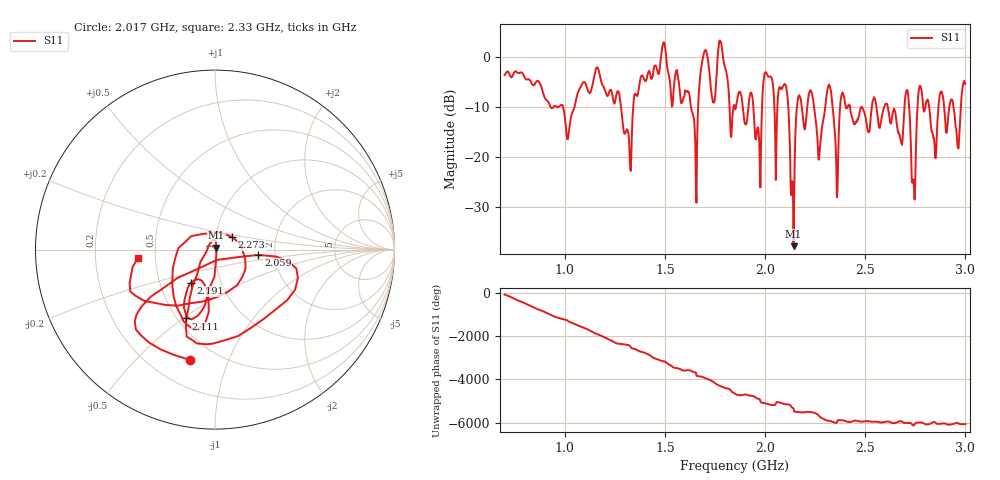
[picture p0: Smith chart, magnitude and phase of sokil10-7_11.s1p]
# HZ S RI R 50
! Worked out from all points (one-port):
!   808 points, 700 MHz to 3 GHz, reference 50 ohm
!   lowest |S11| = -37.9 dB at 2.142 GHz (marker M1), VSWR 1.03, Z = 50.8 + j1.01 ohm
!   |S11| at or under -10 dB: 1.281 GHz to 1.342 GHz (61.3 MHz wide, 4.67 % of centre); 2.425 GHz to 2.533 GHz (108.7 MHz wide, 4.38 % of centre); 2.612 GHz to 2.696 GHz (83.22 MHz wide, 3.14 % of centre)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
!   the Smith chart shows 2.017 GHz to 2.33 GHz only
!   S11 on the Smith chart (normalised r, x): 2.017 GHz: 0.36, -0.73; 2.059 GHz: 1.63, -0.10; 2.111 GHz: 0.55, -0.51; 2.191 GHz: 0.72, -0.28; 2.273 GHz: 1.20, +0.17; 2.33 GHz: 0.40, -0.05
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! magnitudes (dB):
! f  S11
! 700 MHz  -3.7
! 987.9 MHz  -9.7
! 1.276 GHz  -8.5
! 1.324 GHz  -19.7
! 1.384 GHz  -3.8
! 1.564 GHz  -3.7
! 1.652 GHz  -17.3
! 1.7 GHz  1.3
! 1.851 GHz  -10.5
! 1.968 GHz  -15.2
! 2.017 GHz  -4.0
! 2.059 GHz  -12.3
! 2.111 GHz  -7.6
! 2.139 GHz  -26.6
! 2.142 GHz  -37.9
! 2.165 GHz  -8.4
! 2.191 GHz  -12.8
! 2.273 GHz  -18.6
! 2.33 GHz  -7.3
! 2.356 GHz  -22.1
! 2.384 GHz  -7.5
! 2.427 GHz  -11.1
! 2.715 GHz  -7.9
! 2.741 GHz  -24.6
! 2.775 GHz  -5.9
! 2.846 GHz  -17.7
! 2.963 GHz  -18.2
! 3 GHz  -5.4
